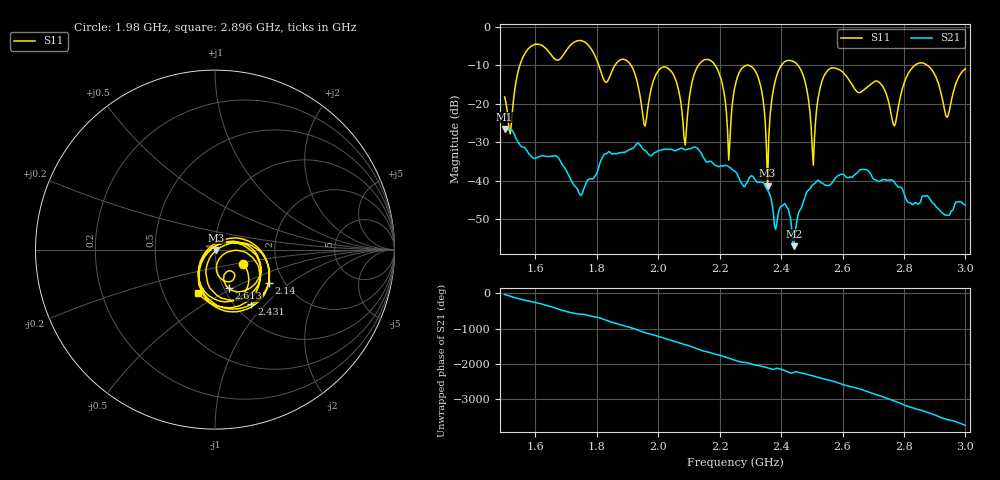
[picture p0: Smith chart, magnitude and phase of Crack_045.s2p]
# HZ S RI R 50
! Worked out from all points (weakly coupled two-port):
!   404 points, 1.5 GHz to 3 GHz, reference 50 ohm
!   highest |S21| = -26.55 dB at 1.5 GHz (marker M1); lowest = -57.1 dB at 2.442 GHz (marker M2)
!   lowest |S11| = -41.3 dB at 2.356 GHz (marker M3), VSWR 1.02, Z = 50.8 - j0.258 ohm
!   |S11| at or under -10 dB: 1.912 GHz to 2.131 GHz (219.3 MHz wide, 10.8 % of centre); 2.456 GHz to 2.835 GHz (379.5 MHz wide, 14.3 % of centre); 2.877 GHz to end of sweep (the widest 3 of 7)
!   S12 and S22 are empty: the file has one direction only
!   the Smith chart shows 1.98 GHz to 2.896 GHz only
!   S11 on the Smith chart (normalised r, x): 1.98 GHz: 1.35, -0.22; 2.14 GHz: 1.67, -0.70; 2.431 GHz: 1.19, -0.84; 2.613 GHz: 1.06, -0.48; 2.896 GHz: 0.74, -0.38
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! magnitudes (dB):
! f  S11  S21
! 1.5 GHz  -18.2  -26.6
! 1.753 GHz  -3.6  -43.3
! 1.906 GHz  -9.3  -31.9
! 1.954 GHz  -25.5  -32.0
! 1.98 GHz  -15.1  -33.3
! 2.002 GHz  -11.2  -32.2
! 2.088 GHz  -30.7  -31.9
! 2.14 GHz  -9.1  -32.8
! 2.196 GHz  -11.6  -36.4
! 2.23 GHz  -34.7  -36.4
! 2.252 GHz  -14.8  -37.7
! 2.315 GHz  -11.4  -39.7
! 2.356 GHz  -41.3  -42.4
! 2.431 GHz  -8.7  -49.8
! 2.442 GHz  -9.0  -57.1
! 2.501 GHz  -31.2  -41.2
! 2.542 GHz  -12.4  -41.1
! 2.613 GHz  -12.8  -39.2
! 2.751 GHz  -19.7  -39.9
! 2.896 GHz  -11.7  -46.0
! 2.94 GHz  -23.5  -49.0
! 3 GHz  -10.8  -46.4
